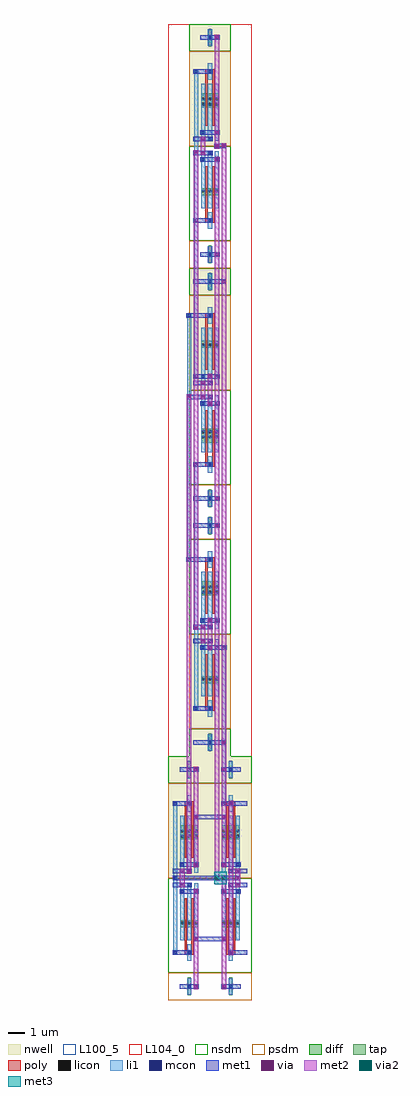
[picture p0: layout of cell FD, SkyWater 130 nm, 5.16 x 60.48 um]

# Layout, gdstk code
import gdstk
lib = gdstk.Library(unit=1e-6, precision=1e-09)
def R(c, l, rs):  # rectangles x0, y0, x1, y1
    for r in rs: c.add(gdstk.rectangle(r[:2], r[2:], *l))
def A(c, l, x, y, w, h, nx, ny, dx, dy):  # array of equal rectangles
    R(c, l, [(x+i*dx, y+j*dy, x+i*dx+w, y+j*dy+h) for i in range(nx) for j in range(ny)])
nwell = (64, 20)
diff = (65, 20)
tap = (65, 44)
poly = (66, 20)
licon = (66, 44)
li1 = (67, 20)
mcon = (67, 44)
met1 = (68, 20)
via = (68, 44)
met2 = (69, 20)
via2 = (69, 44)
met3 = (70, 20)
nsdm = (93, 44)
psdm = (94, 20)
L100_5 = (100, 5)
L104_0 = (104, 0)

c_fd = lib.new_cell('FD')
R(c_fd, nwell, [(0,7.56,2.58,15.12), (2.58,7.56,5.16,15.12), (1.29,15.12,3.87,22.68), (1.29,37.8,3.87,45.36), (1.29,52.92,3.87,60.48)])
R(c_fd, diff, [(0.735,4.515,1.845,4.935), (3.315,4.515,4.425,4.935), (0.735,9.975,1.845,10.815), (3.315,9.975,4.425,10.815), (2.025,19.635,3.135,20.055), (2.025,25.095,3.135,25.935), (2.025,34.545,3.135,35.385), (2.025,40.425,3.135,40.845), (2.025,49.875,3.135,50.295), (2.025,55.335,3.135,56.175)])
R(c_fd, tap, [(1.205,0.28,1.375,1.4), (3.785,0.28,3.955,1.4), (1.205,13.72,1.375,14.84), (3.785,13.72,3.955,14.84), (2.495,15.4,2.665,16.52), (2.495,28.84,2.665,29.96), (2.495,30.52,2.665,31.64), (2.495,43.96,2.665,45.08), (2.495,45.64,2.665,46.76), (2.495,59.08,2.665,60.2)])
R(c_fd, poly, [(1,2.805,1.58,3.075), (3.58,2.805,4.16,3.075), (1,2.94,1.15,6.3), (1.43,2.94,1.58,6.3), (3.58,2.94,3.73,6.3), (4.01,2.94,4.16,6.3), (1,8.82,1.15,12.18), (1.43,8.82,1.58,12.18), (3.58,8.82,3.73,12.18), (4.01,8.82,4.16,12.18), (1,12.045,1.58,12.315), (3.58,12.045,4.16,12.315), (2.29,17.925,2.87,18.195), (2.29,18.06,2.44,21.42), (2.72,18.06,2.87,21.42), (2.29,23.94,2.44,27.3), (2.72,23.94,2.87,27.3), (2.29,27.165,2.87,27.435), (2.29,33.045,2.87,33.315), (2.29,33.18,2.44,36.54), (2.72,33.18,2.87,36.54), (2.29,39.06,2.44,42.42), (2.72,39.06,2.87,42.42), (2.29,42.285,2.87,42.555), (2.29,48.165,2.87,48.435), (2.29,48.3,2.44,51.66), (2.72,48.3,2.87,51.66), (2.29,54.18,2.44,57.54), (2.72,54.18,2.87,57.54), (2.29,57.405,2.87,57.675)])
A(c_fd, licon, 0.775, 4.685, 0.17, 0.17, 3, 2, 0.43, 5.37)
A(c_fd, licon, 3.355, 4.685, 0.17, 0.17, 3, 2, 0.43, 5.37)
A(c_fd, licon, 0.775, 10.395, 0.17, 0.17, 3, 1, 0.43, 0)
A(c_fd, licon, 3.355, 10.395, 0.17, 0.17, 3, 1, 0.43, 0)
A(c_fd, licon, 2.065, 19.805, 0.17, 0.17, 3, 2, 0.43, 5.37)
A(c_fd, licon, 2.065, 25.515, 0.17, 0.17, 3, 2, 0.43, 9.28)
A(c_fd, licon, 2.065, 35.135, 0.17, 0.17, 3, 2, 0.43, 5.37)
A(c_fd, licon, 2.065, 50.045, 0.17, 0.17, 3, 2, 0.43, 5.37)
A(c_fd, licon, 2.065, 55.755, 0.17, 0.17, 3, 1, 0.43, 0)
R(c_fd, licon, [(1.205,0.755,1.375,0.925), (3.785,0.755,3.955,0.925), (1.205,2.855,1.375,3.025), (3.785,2.855,3.955,3.025), (1.205,12.095,1.375,12.265), (3.785,12.095,3.955,12.265), (1.205,14.195,1.375,14.365), (3.785,14.195,3.955,14.365), (2.495,15.875,2.665,16.045), (2.495,17.975,2.665,18.145), (2.495,27.215,2.665,27.385), (2.495,29.315,2.665,29.485), (2.495,30.995,2.665,31.165), (2.495,33.095,2.665,33.265), (2.495,42.335,2.665,42.505), (2.495,44.435,2.665,44.605), (2.495,46.115,2.665,46.285), (2.495,48.215,2.665,48.385), (2.495,57.455,2.665,57.625), (2.495,59.555,2.665,59.725)])
A(c_fd, li1, 0.735, 3.695, 0.25, 3.53, 3, 2, 0.43, 4.2)
A(c_fd, li1, 3.315, 3.695, 0.25, 3.53, 3, 2, 0.43, 4.2)
A(c_fd, li1, 2.025, 18.815, 0.25, 3.53, 3, 2, 0.43, 4.2)
A(c_fd, li1, 2.025, 33.935, 0.25, 3.53, 3, 2, 0.43, 4.2)
A(c_fd, li1, 2.025, 49.055, 0.25, 3.53, 3, 2, 0.43, 4.2)
R(c_fd, li1, [(1.165,0.335,1.415,1.345), (3.745,0.335,3.995,1.345), (1.165,2.435,1.415,3.445), (3.745,2.435,3.995,3.445), (0.305,2.855,0.555,12.265), (1.165,11.675,1.415,12.685), (3.745,11.675,3.995,12.685), (3.315,12.095,3.565,21.925), (1.165,13.775,1.415,14.785), (3.745,13.775,3.995,14.785), (2.455,15.455,2.705,16.465), (2.455,17.555,2.705,18.565), (1.595,17.975,1.845,33.265), (2.455,26.795,2.705,27.805), (1.165,27.215,1.415,42.505), (2.455,28.895,2.705,29.905), (2.455,30.575,2.705,31.585), (2.455,32.675,2.705,33.685), (1.595,38.555,1.845,57.625), (2.455,41.915,2.705,42.925), (2.455,44.015,2.705,45.025), (2.455,45.695,2.705,46.705), (2.455,47.795,2.705,48.805), (2.455,57.035,2.705,58.045), (2.455,59.135,2.705,60.145)])
A(c_fd, mcon, 0.345, 2.855, 0.17, 0.17, 1, 3, 0, 4.62)
R(c_fd, mcon, [(1.205,0.755,1.375,0.925), (3.785,0.755,3.955,0.925), (1.205,2.855,1.375,3.025), (3.785,2.855,3.955,3.025), (0.775,6.635,0.945,6.805), (1.635,6.635,1.805,6.805), (3.355,6.635,3.525,6.805), (4.215,6.635,4.385,6.805), (1.205,7.055,1.375,7.225), (3.785,7.055,3.955,7.225), (1.205,7.895,1.375,8.065), (3.785,7.895,3.955,8.065), (0.775,8.315,0.945,8.485), (1.635,8.315,1.805,8.485), (3.355,8.315,3.525,8.485), (4.215,8.315,4.385,8.485), (1.205,12.095,1.375,12.265), (3.355,12.095,3.525,12.265), (3.785,12.095,3.955,12.265), (1.205,14.195,1.375,14.365), (3.785,14.195,3.955,14.365), (2.495,15.875,2.665,16.045), (1.635,17.975,1.805,18.145), (2.495,17.975,2.665,18.145), (2.065,21.755,2.235,21.925), (2.925,21.755,3.095,21.925), (3.355,21.755,3.525,21.925), (2.495,22.175,2.665,22.345), (2.495,23.015,2.665,23.185), (2.065,23.435,2.235,23.605), (2.925,23.435,3.095,23.605), (1.205,27.215,1.375,27.385), (2.495,27.215,2.665,27.385), (2.495,29.315,2.665,29.485), (2.495,30.995,2.665,31.165), (1.635,33.095,1.805,33.265), (2.495,33.095,2.665,33.265), (2.065,36.875,2.235,37.045), (2.925,36.875,3.095,37.045), (2.495,37.295,2.665,37.465), (2.495,38.135,2.665,38.305), (1.635,38.555,1.805,38.725), (2.065,38.555,2.235,38.725), (2.925,38.555,3.095,38.725), (1.205,42.335,1.375,42.505), (2.495,42.335,2.665,42.505), (2.495,44.435,2.665,44.605), (2.495,46.115,2.665,46.285), (1.635,48.215,1.805,48.385), (2.495,48.215,2.665,48.385), (2.065,51.995,2.235,52.165), (2.925,51.995,3.095,52.165), (2.495,52.415,2.665,52.585), (2.495,53.255,2.665,53.425), (2.065,53.675,2.235,53.845), (2.925,53.675,3.095,53.845), (1.635,57.455,1.805,57.625), (2.495,57.455,2.665,57.625), (2.495,59.555,2.665,59.725)])
R(c_fd, met1, [(0.69,0.7,1.89,0.98), (3.27,0.7,4.47,0.98), (0.26,2.8,1.46,3.08), (3.7,2.8,4.9,3.08), (1.56,3.64,3.6,3.92), (0.69,6.58,1.89,6.86), (3.27,6.58,4.47,6.86), (0.26,7,1.46,7.28), (3.7,7,4.9,7.28), (0.26,7.42,4.46,7.7), (0.26,7.84,1.46,8.12), (3.7,7.84,4.9,8.12), (0.69,8.26,1.89,8.54), (3.27,8.26,4.47,8.54), (1.56,11.2,3.6,11.48), (0.26,12.04,1.46,12.32), (3.27,12.04,4.9,12.32), (0.69,14.14,1.89,14.42), (3.27,14.14,4.47,14.42), (1.55,15.82,3.6,16.1), (1.55,17.92,2.75,18.2), (1.98,21.7,3.61,21.98), (1.55,22.12,2.75,22.4), (1.55,22.96,2.75,23.24), (1.98,23.38,3.18,23.66), (1.12,27.16,2.75,27.44), (1.55,29.26,3.17,29.54), (1.55,30.94,3.17,31.22), (1.55,33.04,2.75,33.32), (1.98,36.82,3.18,37.1), (1.13,37.24,2.75,37.52), (1.55,38.08,2.75,38.36), (1.55,38.5,3.18,38.78), (1.12,42.28,2.75,42.56), (1.55,44.38,3.6,44.66), (1.98,46.06,3.18,46.34), (1.55,48.16,2.75,48.44), (1.98,51.94,3.18,52.22), (1.55,52.36,2.75,52.64), (2.85,52.78,3.6,53.06), (1.55,53.2,2.75,53.48), (1.98,53.62,3.18,53.9), (1.55,57.4,2.75,57.68), (1.98,59.5,3.18,59.78)])
A(c_fd, via, 1.645, 0.765, 0.15, 0.15, 1, 3, 0, 2.94)
A(c_fd, via, 3.365, 0.765, 0.15, 0.15, 1, 3, 0, 2.94)
A(c_fd, via, 4.225, 7.065, 0.15, 0.15, 1, 3, 0, 0.42)
A(c_fd, via, 1.645, 8.325, 0.15, 0.15, 1, 3, 0, 2.94)
A(c_fd, via, 3.365, 8.325, 0.15, 0.15, 1, 3, 0, 2.94)
A(c_fd, via, 2.935, 52.005, 0.15, 0.15, 1, 3, 0, 0.84)
R(c_fd, via, [(3.795,2.865,3.945,3.015), (0.785,7.065,0.935,7.215), (0.785,7.905,0.935,8.055), (1.215,7.905,1.365,8.055), (3.795,12.105,3.945,12.255), (3.365,15.885,3.515,16.035), (2.505,21.765,2.655,21.915), (2.075,22.185,2.225,22.335), (1.645,23.025,1.795,23.175), (2.075,23.025,2.225,23.175), (2.505,23.445,2.655,23.595), (2.935,29.325,3.085,29.475), (2.935,31.005,3.085,31.155), (2.505,36.885,2.655,37.035), (1.215,37.305,1.365,37.455), (2.075,37.305,2.225,37.455), (2.075,38.145,2.225,38.295), (2.505,38.565,2.655,38.715), (3.365,44.445,3.515,44.595), (2.935,46.125,3.085,46.275), (1.645,52.425,1.795,52.575), (2.075,52.425,2.225,52.575), (3.365,52.845,3.515,52.995), (2.075,53.265,2.225,53.415), (2.935,59.565,3.085,59.715)])
A(c_fd, met2, 2.01, 22.1, 0.28, 1.16, 1, 3, 0, 15.12)
R(c_fd, met2, [(1.58,0.68,1.86,6.88), (3.3,0.68,3.58,7.745), (3.73,2.78,4.01,12.34), (0.72,6.98,1,8.14), (4.16,6.98,4.44,8.14), (2.87,7.375,3.15,52.24), (1.15,7.82,1.43,37.54), (1.58,8.24,1.86,14.44), (3.3,8.24,3.58,53.08), (2.44,21.68,2.72,23.68), (1.58,22.94,1.86,52.66), (2.44,36.8,2.72,38.8), (2.87,52.76,3.15,59.8)])
R(c_fd, via2, [(2.91,7.46,3.11,7.66), (3.34,7.46,3.54,7.66)])
R(c_fd, met3, [(2.845,7.16,3.605,7.96)])
R(c_fd, nsdm, [(0,1.68,2.58,7.56), (2.58,1.68,5.16,7.56), (0,13.44,2.58,15.12), (2.58,13.44,5.16,15.12), (1.29,15.12,3.87,16.8), (1.29,22.68,3.87,28.56), (1.29,31.92,3.87,37.8), (1.29,43.68,3.87,45.36), (1.29,47.04,3.87,52.92), (1.29,58.8,3.87,60.48)])
R(c_fd, psdm, [(0,0,2.58,1.68), (2.58,0,5.16,1.68), (0,7.56,2.58,13.44), (2.58,7.56,5.16,13.44), (1.29,16.8,3.87,22.68), (1.29,28.56,3.87,30.24), (1.29,30.24,3.87,31.92), (1.29,37.8,3.87,43.68), (1.29,45.36,3.87,47.04), (1.29,52.92,3.87,58.8)])
R(c_fd, L100_5, [(0,0,5.16,60.48)])
R(c_fd, L104_0, [(0,0,5.16,60.48)])

lib.write_gds('FD.gds')
